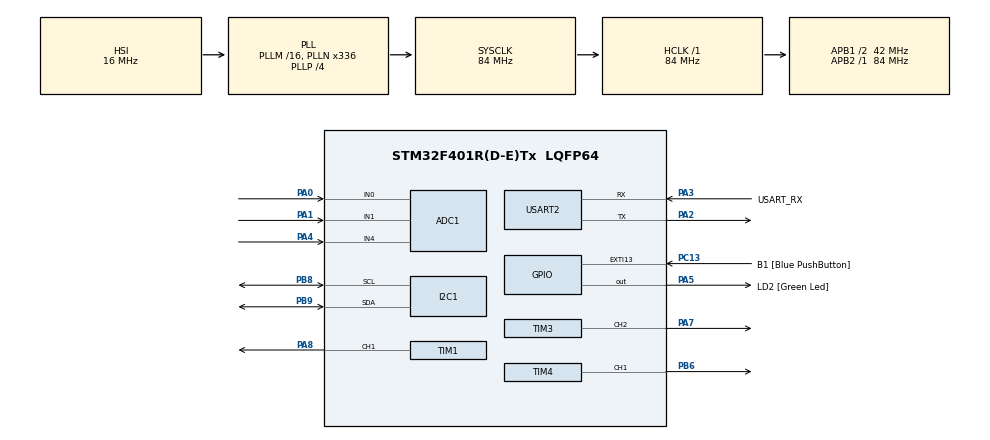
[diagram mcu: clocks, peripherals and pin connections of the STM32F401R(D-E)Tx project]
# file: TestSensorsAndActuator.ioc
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ADC1.Channel-0\#ChannelRegularConversion=ADC_CHANNEL_0
ADC1.ContinuousConvMode=ENABLE
ADC1.NbrOfConversionFlag=1
ADC1.Rank-0\#ChannelRegularConversion=1
ADC1.SamplingTime-0\#ChannelRegularConversion=ADC_SAMPLETIME_3CYCLES
ADC1.ScanConvMode=ENABLE
ADC1.master=1
Dma.ADC1.0.Direction=DMA_PERIPH_TO_MEMORY
Dma.ADC1.0.FIFOMode=DMA_FIFOMODE_DISABLE
Dma.ADC1.0.Instance=DMA2_Stream0
Dma.ADC1.0.MemDataAlignment=DMA_MDATAALIGN_HALFWORD
Dma.ADC1.0.MemInc=DMA_MINC_ENABLE
Dma.ADC1.0.Mode=DMA_CIRCULAR
Dma.ADC1.0.PeriphDataAlignment=DMA_PDATAALIGN_HALFWORD
Dma.ADC1.0.PeriphInc=DMA_PINC_DISABLE
Dma.ADC1.0.Priority=DMA_PRIORITY_LOW
Dma.Request0=ADC1
I2C1.NoStretchMode=I2C_NOSTRETCH_DISABLE
Mcu.Family=STM32F4
Mcu.Name=STM32F401R(D-E)Tx
Mcu.Package=LQFP64
NVIC.DMA2_Stream0_IRQn=true\:0\:0\:false\:false\:true\:false\:true\:true
NVIC.PriorityGroup=NVIC_PRIORITYGROUP_4
PA0-WKUP.Signal=ADCx_IN0
PA1.Signal=ADCx_IN1
PA13.GPIO_Label=TMS
PA13.Mode=Trace_Asynchronous_SW
PA13.Signal=SYS_JTMS-SWDIO
PA14.GPIO_Label=TCK
PA14.Mode=Trace_Asynchronous_SW
PA14.Signal=SYS_JTCK-SWCLK
PA2.Mode=Asynchronous
PA2.Signal=USART2_TX
PA3.GPIO_Label=USART_RX
PA3.GPIO_Mode=GPIO_MODE_AF_PP
PA3.GPIO_PuPd=GPIO_NOPULL
PA3.GPIO_Speed=GPIO_SPEED_FREQ_LOW
PA3.Mode=Asynchronous
PA3.Signal=USART2_RX
PA4.Signal=ADCx_IN4
PA5.GPIO_Label=LD2 [Green Led]
PA5.GPIO_Mode=GPIO_MODE_OUTPUT_PP
PA5.GPIO_PuPd=GPIO_NOPULL
PA5.GPIO_Speed=GPIO_SPEED_FREQ_LOW
PA5.Signal=GPIO_Output
PA7.GPIO_Speed=GPIO_SPEED_FREQ_VERY_HIGH
PA7.Signal=S_TIM3_CH2
PA8.GPIO_Speed=GPIO_SPEED_FREQ_VERY_HIGH
PA8.Signal=S_TIM1_CH1
PB3.GPIO_Label=SWO
PB3.Mode=Trace_Asynchronous_SW
PB3.Signal=SYS_JTDO-SWO
PB6.GPIO_Speed=GPIO_SPEED_FREQ_VERY_HIGH
PB6.Signal=S_TIM4_CH1
PB8.Mode=I2C
PB8.Signal=I2C1_SCL
PB9.Mode=I2C
PB9.Signal=I2C1_SDA
PC13-ANTI_TAMP.GPIO_Label=B1 [Blue PushButton]
PC13-ANTI_TAMP.GPIO_ModeDefaultEXTI=GPIO_MODE_IT_FALLING
PC13-ANTI_TAMP.GPIO_PuPd=GPIO_NOPULL
PC13-ANTI_TAMP.Signal=GPXTI13
PC14-OSC32_IN.Mode=LSE-External-Oscillator
PC14-OSC32_IN.Signal=RCC_OSC32_IN
PC15-OSC32_OUT.Mode=LSE-External-Oscillator
PC15-OSC32_OUT.Signal=RCC_OSC32_OUT
PH0\ -\ OSC_IN.Mode=HSE-External-Clock-Source
PH0\ -\ OSC_IN.Signal=RCC_OSC_IN
PH1\ -\ OSC_OUT.Mode=HSE-External-Clock-Source
PH1\ -\ OSC_OUT.Signal=RCC_OSC_OUT
ProjectManager.HeapSize=0x200
ProjectManager.StackSize=0x400
ProjectManager.TargetToolchain=STM32CubeIDE
RCC.48MHZClocksFreq_Value=48000000
RCC.AHBFreq_Value=84000000
RCC.APB1CLKDivider=RCC_HCLK_DIV2
RCC.APB1Freq_Value=42000000
RCC.APB1TimFreq_Value=84000000
RCC.APB2Freq_Value=84000000
RCC.APB2TimFreq_Value=84000000
RCC.CortexFreq_Value=84000000
RCC.HCLKFreq_Value=84000000
RCC.HSE_VALUE=8000000
RCC.HSI_VALUE=16000000
RCC.PLLN=336
RCC.PLLP=RCC_PLLP_DIV4
RCC.PLLQ=7
RCC.SYSCLKFreq_VALUE=84000000
RCC.SYSCLKSource=RCC_SYSCLKSOURCE_PLLCLK
RCC.VCOOutputFreq_Value=336000000
SH.ADCx_IN0.0=ADC1_IN0,IN0
SH.ADCx_IN1.0=ADC1_IN1,IN1
SH.ADCx_IN4.0=ADC1_IN4,IN4
SH.S_TIM1_CH1.0=TIM1_CH1,PWM Generation1 CH1
SH.S_TIM3_CH2.0=TIM3_CH2,PWM Generation2 CH2
SH.S_TIM4_CH1.0=TIM4_CH1,PWM Generation1 CH1
TIM1.AutoReloadPreload=TIM_AUTORELOAD_PRELOAD_ENABLE
TIM1.Channel-PWM\ Generation1\ CH1=TIM_CHANNEL_1
TIM1.Period=4199
TIM3.AutoReloadPreload=TIM_AUTORELOAD_PRELOAD_ENABLE
TIM3.Channel-PWM\ Generation2\ CH2=TIM_CHANNEL_2
TIM3.Period=4199
TIM4.AutoReloadPreload=TIM_AUTORELOAD_PRELOAD_ENABLE
TIM4.Channel-PWM\ Generation1\ CH1=TIM_CHANNEL_1
TIM4.Period=4199
USART2.VirtualMode=VM_ASYNC
board=NUCLEO-F401RE

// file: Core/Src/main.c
/* USER CODE BEGIN Header */
/**
  ******************************************************************************
  * @file           : main.c
  * @brief          : Main program body
  ******************************************************************************
  * @attention
  *
  * Copyright (c) 2025 STMicroelectronics.
  * All rights reserved.
  *
  * This software is licensed under terms that can be found in the LICENSE file
  * in the root directory of this software component.
  * If no LICENSE file comes with this software, it is provided AS-IS.
  *
  ******************************************************************************
  */
/* USER CODE END Header */
#include "main.h"

/* USER CODE BEGIN Includes */
#include <stdio.h>
/* USER CODE END Includes */

ADC_HandleTypeDef hadc1;
DMA_HandleTypeDef hdma_adc1;

I2C_HandleTypeDef hi2c1;

TIM_HandleTypeDef htim1;
TIM_HandleTypeDef htim3;
TIM_HandleTypeDef htim4;

UART_HandleTypeDef huart2;

void SystemClock_Config(void);
static void MX_GPIO_Init(void);
static void MX_DMA_Init(void);
static void MX_USART2_UART_Init(void);
static void MX_ADC1_Init(void);
static void MX_I2C1_Init(void);
static void MX_TIM1_Init(void);
static void MX_TIM3_Init(void);
static void MX_TIM4_Init(void);

/* USER CODE BEGIN 0 */
static void PWM_SetDuty(TIM_HandleTypeDef *htim, uint32_t ch, float duty_percent) {
    if (duty_percent < 0) duty_percent = 0;
    if (duty_percent > 100) duty_percent = 100;
    uint32_t arr = __HAL_TIM_GET_AUTORELOAD(htim); // 4199
    __HAL_TIM_SET_COMPARE(htim, ch, (uint32_t)(arr * (duty_percent / 100.0f)));
}
static inline float adc_to_duty(uint16_t v) {
    float duty = (v / 4095.0f) * 95.0f;  // 0..95%
    if (duty < 0) duty = 0;
    if (duty > 95.0f) duty = 95.0f;
    return duty;
}

#define TCA_ADDR     (0x70 << 1)   // A0/A1/A2 = 0
#define AS5600_ADDR  (0x36 << 1)

static HAL_StatusTypeDef TCA_Select(uint8_t ch) {
    if (ch > 7) return HAL_ERROR;
    uint8_t data = (1u << ch);
    return HAL_I2C_Master_Transmit(&hi2c1, TCA_ADDR, &data, 1, 100);
}

static HAL_StatusTypeDef AS5600_ReadRaw(uint16_t *raw) {
    uint8_t reg = 0x0C; // RAW_ANGLE MSB
    uint8_t buf[2];
    if (HAL_I2C_Master_Transmit(&hi2c1, AS5600_ADDR, &reg, 1, 100) != HAL_OK) return HAL_ERROR;
    if (HAL_I2C_Master_Receive(&hi2c1, AS5600_ADDR, buf, 2, 100) != HAL_OK) return HAL_ERROR;
    *raw = ((uint16_t)buf[0] << 8) | buf[1];
    *raw &= 0x0FFF; // 12-bit
    return HAL_OK;
}
int __io_putchar(int ch)
{
  HAL_UART_Transmit(&huart2, (uint8_t *)&ch, 1, HAL_MAX_DELAY);
  return ch;
}

/* USER CODE END 0 */

int main(void)
{

  /* MCU Configuration--------------------------------------------------------*/

  /* Reset of all peripherals, Initializes the Flash interface and the Systick. */
  HAL_Init();

  /* Configure the system clock */
  SystemClock_Config();

  /* Initialize all configured peripherals */
  MX_GPIO_Init();
  MX_DMA_Init();
  MX_USART2_UART_Init();
  MX_ADC1_Init();
  MX_I2C1_Init();
  MX_TIM1_Init();
  MX_TIM3_Init();
  MX_TIM4_Init();
  /* USER CODE BEGIN 2 */
  // ADC DMA buffer 3 ช่อง
  static uint16_t adcBuf[3];

  HAL_ADC_Start_DMA(&hadc1, (uint32_t*)adcBuf, 3);

  HAL_TIM_PWM_Start(&htim1, TIM_CHANNEL_1); // PA8
  HAL_TIM_PWM_Start(&htim3, TIM_CHANNEL_2); // PA7
  HAL_TIM_PWM_Start(&htim4, TIM_CHANNEL_1); // PB6

  /* USER CODE END 2 */

  /* Infinite loop */
  /* USER CODE BEGIN WHILE */
  while (1)
  {
	  // ===== 2) อ่านค่าโพเทนจาก ADC (DMA อัปเดตอยู่ตลอด) =====
	  //Correct Right now swap 3->2 and 2->1
//	  float duty1 = 0.0f;
//	  float duty2 = 67.0f;
//	  float duty3 = 46.0f;
	  const float FLOOR1 = 0.0f; //67.0f
	  const float FLOOR2 = 67.0f; //46.0f
	  const float FLOOR3 = 46.0f; //0.0f
	  const float CEILING = 100.0f;

	  float duty1 = FLOOR1;
	  float duty2 = FLOOR2;
	  float duty3 = FLOOR3;
//
//	  // Flags to track direction: 1 = going up, -1 = going down
	  int dir1 = 1;
	  int dir2 = 1;
	  int dir3 = 1;
//
	  while (1) { // Continuous operation loop
		  uint16_t raw[3] = {0};
		  	  float deg[3] = {0};
		  	  for(int ch = 0; ch < 8; ch++) {
		  	      uint8_t mask = 1 << ch;
		  	      HAL_I2C_Master_Transmit(&hi2c1, (0x70 << 1), &mask, 1, 10);

		  	      HAL_StatusTypeDef ret = HAL_I2C_IsDeviceReady(&hi2c1, (0x36 << 1), 1, 10);

		  	      if(ret == HAL_OK) {
		  //	          printf("AS5600 FOUND on channel %d\r\n", ch);
		  	      } else {
		  //	          printf("Channel %d: Not found\r\n", ch);
		  	      }
		  	  }
		  	  uint8_t channels[3] = {5, 6, 7};
		  	  for (uint8_t i = 0; i < 3; ++i)
		  	  {
		  		  if (TCA_Select(channels[i]) == HAL_OK && AS5600_ReadRaw(&raw[i]) == HAL_OK)
		  	    {
		  	      raw[i] &= 0x0FFF; // จำกัด 12-bit
		  	      deg[i] = (raw[i] * 360.0f) / 4096.0f;
		  	    }
		  	    else //little change
		  	    {
		  	      deg[i] = -1.0f; // ถ้าอ่านไม่ได้
		  	    }
		  	  }

		  printf("Magnetic Sensor(deg): [%.1f, %.1f, %.1f]\r\n", deg[0], deg[1], deg[2]);

	      // Adjust these values to control the speed of the ramp
	      float step = 1.0f;
	      int delay_ms = 20;

	      // --- Channel 1 ---
	      duty1 += step * dir1;
	      if (duty1 >= CEILING) {
	          duty1 = CEILING;
	          dir1 = -1; // Change direction to down
	      } else if (duty1 <= FLOOR1) { // Check against the specific floor
	          duty1 = FLOOR1;
	          dir1 = 1; // Change direction to up
	      }
	      PWM_SetDuty(&htim1, TIM_CHANNEL_1, duty1);
//
//	      // --- Channel 2 ---
	      duty2 += step * dir2;
	      if (duty2 >= CEILING) {
	          duty2 = CEILING;
	          dir2 = -1; // Change direction to down
	      } else if (duty2 <= FLOOR2) { // Check against the specific floor
	          duty2 = FLOOR2;
	          dir2 = 1; // Change direction to up
	      }
	      PWM_SetDuty(&htim3, TIM_CHANNEL_2, duty2);
//
//	      // --- Channel 3 ---
	      duty3 += step * dir3;
	      if (duty3 >= CEILING) {
	          duty3 = CEILING;
	          dir3 = -1; // Change direction to down
	      } else if (duty3 <= FLOOR3) { // Check against the specific floor
	          duty3 = FLOOR3;
	          dir3 = 1; // Change direction to up
	      }
	      PWM_SetDuty(&htim4, TIM_CHANNEL_1, duty3);
//
//	      // Print status
	      printf("PWM Duty(%%): [%.1f, %.1f, %.1f]\r\n", duty1, duty2, duty3);
//
//	      // Mandatory delay to control ramp speed and prevent system lockup
	      HAL_Delay(delay_ms);
	  }
}

	  // ===== 3) ตั้งค่า PWM 3 ช่องตามค่าโพเทน =====
//	  PWM_SetDuty(&htim1, TIM_CHANNEL_1, duty1); // PA8 → D4184#1
//	  PWM_SetDuty(&htim3, TIM_CHANNEL_2, duty2); // PA7 → D4184#2
//	  PWM_SetDuty(&htim4, TIM_CHANNEL_1, duty3); // PB6 → D4184#3

	  // ===== 4) พิมพ์ค่ามุม AS5600 และ duty PWM =====
	  // ใช้ printf ผ่าน UART2
//	  printf("Raw: ");
//	  for (uint8_t j=0; j<3; ++j)
//	  {
//		  printf("%.1f, ", raw[j]);
//	  }

//	  printf("AS5600(deg): [%.1f, %.1f, %.1f]  |  PWM Duty(%%): [%.1f, %.1f, %.1f]\r\n",deg[0], deg[1], deg[2], duty1, duty2, duty3);
//	  printf("PWM Duty(%%): [%.1f, %.1f, %.1f]\r\n", duty1, duty2, duty3);
	  HAL_Delay(200); // พิมพ์ทุก 200ms

	      // (ออปชัน) พิมพ์ผลทุก ~200 ms ผ่าน UART ดูค่าได้ใน Serial
	      // ...
    /* USER CODE END WHILE */

  }
//}

void SystemClock_Config(void)
{
  RCC_OscInitTypeDef RCC_OscInitStruct = {0};
  RCC_ClkInitTypeDef RCC_ClkInitStruct = {0};

  /** Configure the main internal regulator output voltage
  */
  __HAL_RCC_PWR_CLK_ENABLE();
  __HAL_PWR_VOLTAGESCALING_CONFIG(PWR_REGULATOR_VOLTAGE_SCALE2);

  /** Initializes the RCC Oscillators according to the specified parameters
  * in the RCC_OscInitTypeDef structure.
  */
  RCC_OscInitStruct.OscillatorType = RCC_OSCILLATORTYPE_HSI;
  RCC_OscInitStruct.HSIState = RCC_HSI_ON;
  RCC_OscInitStruct.HSICalibrationValue = RCC_HSICALIBRATION_DEFAULT;
  RCC_OscInitStruct.PLL.PLLState = RCC_PLL_ON;
  RCC_OscInitStruct.PLL.PLLSource = RCC_PLLSOURCE_HSI;
  RCC_OscInitStruct.PLL.PLLM = 16;
  RCC_OscInitStruct.PLL.PLLN = 336;
  RCC_OscInitStruct.PLL.PLLP = RCC_PLLP_DIV4;
  RCC_OscInitStruct.PLL.PLLQ = 7;
  if (HAL_RCC_OscConfig(&RCC_OscInitStruct) != HAL_OK)
  {
    Error_Handler();
  }

  /** Initializes the CPU, AHB and APB buses clocks
  */
  RCC_ClkInitStruct.ClockType = RCC_CLOCKTYPE_HCLK|RCC_CLOCKTYPE_SYSCLK
                              |RCC_CLOCKTYPE_PCLK1|RCC_CLOCKTYPE_PCLK2;
  RCC_ClkInitStruct.SYSCLKSource = RCC_SYSCLKSOURCE_PLLCLK;
  RCC_ClkInitStruct.AHBCLKDivider = RCC_SYSCLK_DIV1;
  RCC_ClkInitStruct.APB1CLKDivider = RCC_HCLK_DIV2;
  RCC_ClkInitStruct.APB2CLKDivider = RCC_HCLK_DIV1;

  if (HAL_RCC_ClockConfig(&RCC_ClkInitStruct, FLASH_LATENCY_2) != HAL_OK)
  {
    Error_Handler();
  }
}

static void MX_ADC1_Init(void)
{

  ADC_ChannelConfTypeDef sConfig = {0};

  hadc1.Instance = ADC1;
  hadc1.Init.ClockPrescaler        = ADC_CLOCK_SYNC_PCLK_DIV4;
  hadc1.Init.Resolution            = ADC_RESOLUTION_12B;
  hadc1.Init.ScanConvMode          = ENABLE;                 // ✅ Scan
  hadc1.Init.ContinuousConvMode    = ENABLE;                 // ✅ Continuous
  hadc1.Init.DiscontinuousConvMode = DISABLE;
  hadc1.Init.ExternalTrigConvEdge  = ADC_EXTERNALTRIGCONVEDGE_NONE;
  hadc1.Init.ExternalTrigConv      = ADC_SOFTWARE_START;
  hadc1.Init.DataAlign             = ADC_DATAALIGN_RIGHT;
  hadc1.Init.NbrOfConversion       = 3;                      // ✅ สามช่อง
  hadc1.Init.DMAContinuousRequests = DISABLE;                // ได้ทั้ง ENABLE/DISABLE (เราใช้ DMA circular อยู่แล้ว)
  hadc1.Init.EOCSelection          = ADC_EOC_SEQ_CONV;       // ✅ จบทั้งซีเควนซ์ค่อย EOC

  if (HAL_ADC_Init(&hadc1) != HAL_OK) { Error_Handler(); }

  // ----- Rank 1: PA0 (ADC1_IN0)
  sConfig.Channel      = ADC_CHANNEL_0;
  sConfig.Rank         = 1;
  sConfig.SamplingTime = ADC_SAMPLETIME_84CYCLES;            // ✅ แนะนำ 84 cycles
  if (HAL_ADC_ConfigChannel(&hadc1, &sConfig) != HAL_OK) { Error_Handler(); }

  // ----- Rank 2: PA1 (ADC1_IN1)
  sConfig.Channel = ADC_CHANNEL_1;
  sConfig.Rank    = 2;
  if (HAL_ADC_ConfigChannel(&hadc1, &sConfig) != HAL_OK) { Error_Handler(); }

  // ----- Rank 3: PA4 (ADC1_IN4)
  sConfig.Channel = ADC_CHANNEL_4;
  sConfig.Rank    = 3;
  if (HAL_ADC_ConfigChannel(&hadc1, &sConfig) != HAL_OK) { Error_Handler(); }

}

static void MX_I2C1_Init(void)
{

  hi2c1.Instance = I2C1;
  hi2c1.Init.ClockSpeed = 100000;
  hi2c1.Init.DutyCycle = I2C_DUTYCYCLE_2;
  hi2c1.Init.OwnAddress1 = 0;
  hi2c1.Init.AddressingMode = I2C_ADDRESSINGMODE_7BIT;
  hi2c1.Init.DualAddressMode = I2C_DUALADDRESS_DISABLE;
  hi2c1.Init.OwnAddress2 = 0;
  hi2c1.Init.GeneralCallMode = I2C_GENERALCALL_DISABLE;
  hi2c1.Init.NoStretchMode = I2C_NOSTRETCH_DISABLE;
  if (HAL_I2C_Init(&hi2c1) != HAL_OK)
  {
    Error_Handler();
  }

}

static void MX_TIM1_Init(void)
{

  TIM_MasterConfigTypeDef sMasterConfig = {0};
  TIM_OC_InitTypeDef sConfigOC = {0};
  TIM_BreakDeadTimeConfigTypeDef sBreakDeadTimeConfig = {0};

  htim1.Instance = TIM1;
  htim1.Init.Prescaler = 0;
  htim1.Init.CounterMode = TIM_COUNTERMODE_UP;
  htim1.Init.Period = 4199;
  htim1.Init.ClockDivision = TIM_CLOCKDIVISION_DIV1;
  htim1.Init.RepetitionCounter = 0;
  htim1.Init.AutoReloadPreload = TIM_AUTORELOAD_PRELOAD_ENABLE;
  if (HAL_TIM_PWM_Init(&htim1) != HAL_OK)
  {
    Error_Handler();
  }
  sMasterConfig.MasterOutputTrigger = TIM_TRGO_RESET;
  sMasterConfig.MasterSlaveMode = TIM_MASTERSLAVEMODE_DISABLE;
  if (HAL_TIMEx_MasterConfigSynchronization(&htim1, &sMasterConfig) != HAL_OK)
  {
    Error_Handler();
  }
  sConfigOC.OCMode = TIM_OCMODE_PWM1;
  sConfigOC.Pulse = 0;
  sConfigOC.OCPolarity = TIM_OCPOLARITY_HIGH;
  sConfigOC.OCNPolarity = TIM_OCNPOLARITY_HIGH;
  sConfigOC.OCFastMode = TIM_OCFAST_DISABLE;
  sConfigOC.OCIdleState = TIM_OCIDLESTATE_RESET;
  sConfigOC.OCNIdleState = TIM_OCNIDLESTATE_RESET;
  if (HAL_TIM_PWM_ConfigChannel(&htim1, &sConfigOC, TIM_CHANNEL_1) != HAL_OK)
  {
    Error_Handler();
  }
  sBreakDeadTimeConfig.OffStateRunMode = TIM_OSSR_DISABLE;
  sBreakDeadTimeConfig.OffStateIDLEMode = TIM_OSSI_DISABLE;
  sBreakDeadTimeConfig.LockLevel = TIM_LOCKLEVEL_OFF;
  sBreakDeadTimeConfig.DeadTime = 0;
  sBreakDeadTimeConfig.BreakState = TIM_BREAK_DISABLE;
  sBreakDeadTimeConfig.BreakPolarity = TIM_BREAKPOLARITY_HIGH;
  sBreakDeadTimeConfig.AutomaticOutput = TIM_AUTOMATICOUTPUT_DISABLE;
  if (HAL_TIMEx_ConfigBreakDeadTime(&htim1, &sBreakDeadTimeConfig) != HAL_OK)
  {
    Error_Handler();
  }
  HAL_TIM_MspPostInit(&htim1);

}

static void MX_TIM3_Init(void)
{

  TIM_MasterConfigTypeDef sMasterConfig = {0};
  TIM_OC_InitTypeDef sConfigOC = {0};

  htim3.Instance = TIM3;
  htim3.Init.Prescaler = 0;
  htim3.Init.CounterMode = TIM_COUNTERMODE_UP;
  htim3.Init.Period = 4199;
  htim3.Init.ClockDivision = TIM_CLOCKDIVISION_DIV1;
  htim3.Init.AutoReloadPreload = TIM_AUTORELOAD_PRELOAD_ENABLE;
  if (HAL_TIM_PWM_Init(&htim3) != HAL_OK)
  {
    Error_Handler();
  }
  sMasterConfig.MasterOutputTrigger = TIM_TRGO_RESET;
  sMasterConfig.MasterSlaveMode = TIM_MASTERSLAVEMODE_DISABLE;
  if (HAL_TIMEx_MasterConfigSynchronization(&htim3, &sMasterConfig) != HAL_OK)
  {
    Error_Handler();
  }
  sConfigOC.OCMode = TIM_OCMODE_PWM1;
  sConfigOC.Pulse = 0;
  sConfigOC.OCPolarity = TIM_OCPOLARITY_HIGH;
  sConfigOC.OCFastMode = TIM_OCFAST_DISABLE;
  if (HAL_TIM_PWM_ConfigChannel(&htim3, &sConfigOC, TIM_CHANNEL_2) != HAL_OK)
  {
    Error_Handler();
  }
  HAL_TIM_MspPostInit(&htim3);

}

static void MX_TIM4_Init(void)
{

  TIM_MasterConfigTypeDef sMasterConfig = {0};
  TIM_OC_InitTypeDef sConfigOC = {0};

  htim4.Instance = TIM4;
  htim4.Init.Prescaler = 0;
  htim4.Init.CounterMode = TIM_COUNTERMODE_UP;
  htim4.Init.Period = 4199;
  htim4.Init.ClockDivision = TIM_CLOCKDIVISION_DIV1;
  htim4.Init.AutoReloadPreload = TIM_AUTORELOAD_PRELOAD_ENABLE;
  if (HAL_TIM_PWM_Init(&htim4) != HAL_OK)
  {
    Error_Handler();
  }
  sMasterConfig.MasterOutputTrigger = TIM_TRGO_RESET;
  sMasterConfig.MasterSlaveMode = TIM_MASTERSLAVEMODE_DISABLE;
  if (HAL_TIMEx_MasterConfigSynchronization(&htim4, &sMasterConfig) != HAL_OK)
  {
    Error_Handler();
  }
  sConfigOC.OCMode = TIM_OCMODE_PWM1;
  sConfigOC.Pulse = 0;
  sConfigOC.OCPolarity = TIM_OCPOLARITY_HIGH;
  sConfigOC.OCFastMode = TIM_OCFAST_DISABLE;
  if (HAL_TIM_PWM_ConfigChannel(&htim4, &sConfigOC, TIM_CHANNEL_1) != HAL_OK)
  {
    Error_Handler();
  }
  HAL_TIM_MspPostInit(&htim4);

}

static void MX_USART2_UART_Init(void)
{

  huart2.Instance = USART2;
  huart2.Init.BaudRate = 115200;
  huart2.Init.WordLength = UART_WORDLENGTH_8B;
  huart2.Init.StopBits = UART_STOPBITS_1;
  huart2.Init.Parity = UART_PARITY_NONE;
  huart2.Init.Mode = UART_MODE_TX_RX;
  huart2.Init.HwFlowCtl = UART_HWCONTROL_NONE;
  huart2.Init.OverSampling = UART_OVERSAMPLING_16;
  if (HAL_UART_Init(&huart2) != HAL_OK)
  {
    Error_Handler();
  }

}

static void MX_DMA_Init(void)
{

  /* DMA controller clock enable */
  __HAL_RCC_DMA2_CLK_ENABLE();

  /* DMA interrupt init */
  /* DMA2_Stream0_IRQn interrupt configuration */
  HAL_NVIC_SetPriority(DMA2_Stream0_IRQn, 0, 0);
  HAL_NVIC_EnableIRQ(DMA2_Stream0_IRQn);

}

static void MX_GPIO_Init(void)
{
  GPIO_InitTypeDef GPIO_InitStruct = {0};

  /* GPIO Ports Clock Enable */
  __HAL_RCC_GPIOC_CLK_ENABLE();
  __HAL_RCC_GPIOH_CLK_ENABLE();
  __HAL_RCC_GPIOA_CLK_ENABLE();
  __HAL_RCC_GPIOB_CLK_ENABLE();

  /*Configure GPIO pin Output Level */
  HAL_GPIO_WritePin(LD2_GPIO_Port, LD2_Pin, GPIO_PIN_RESET);

  /*Configure GPIO pin : B1_Pin */
  GPIO_InitStruct.Pin = B1_Pin;
  GPIO_InitStruct.Mode = GPIO_MODE_IT_FALLING;
  GPIO_InitStruct.Pull = GPIO_NOPULL;
  HAL_GPIO_Init(B1_GPIO_Port, &GPIO_InitStruct);

  /*Configure GPIO pin : LD2_Pin */
  GPIO_InitStruct.Pin = LD2_Pin;
  GPIO_InitStruct.Mode = GPIO_MODE_OUTPUT_PP;
  GPIO_InitStruct.Pull = GPIO_NOPULL;
  GPIO_InitStruct.Speed = GPIO_SPEED_FREQ_LOW;
  HAL_GPIO_Init(LD2_GPIO_Port, &GPIO_InitStruct);

}

void Error_Handler(void)
{
  __disable_irq();
  while (1)
  {
  }
}
